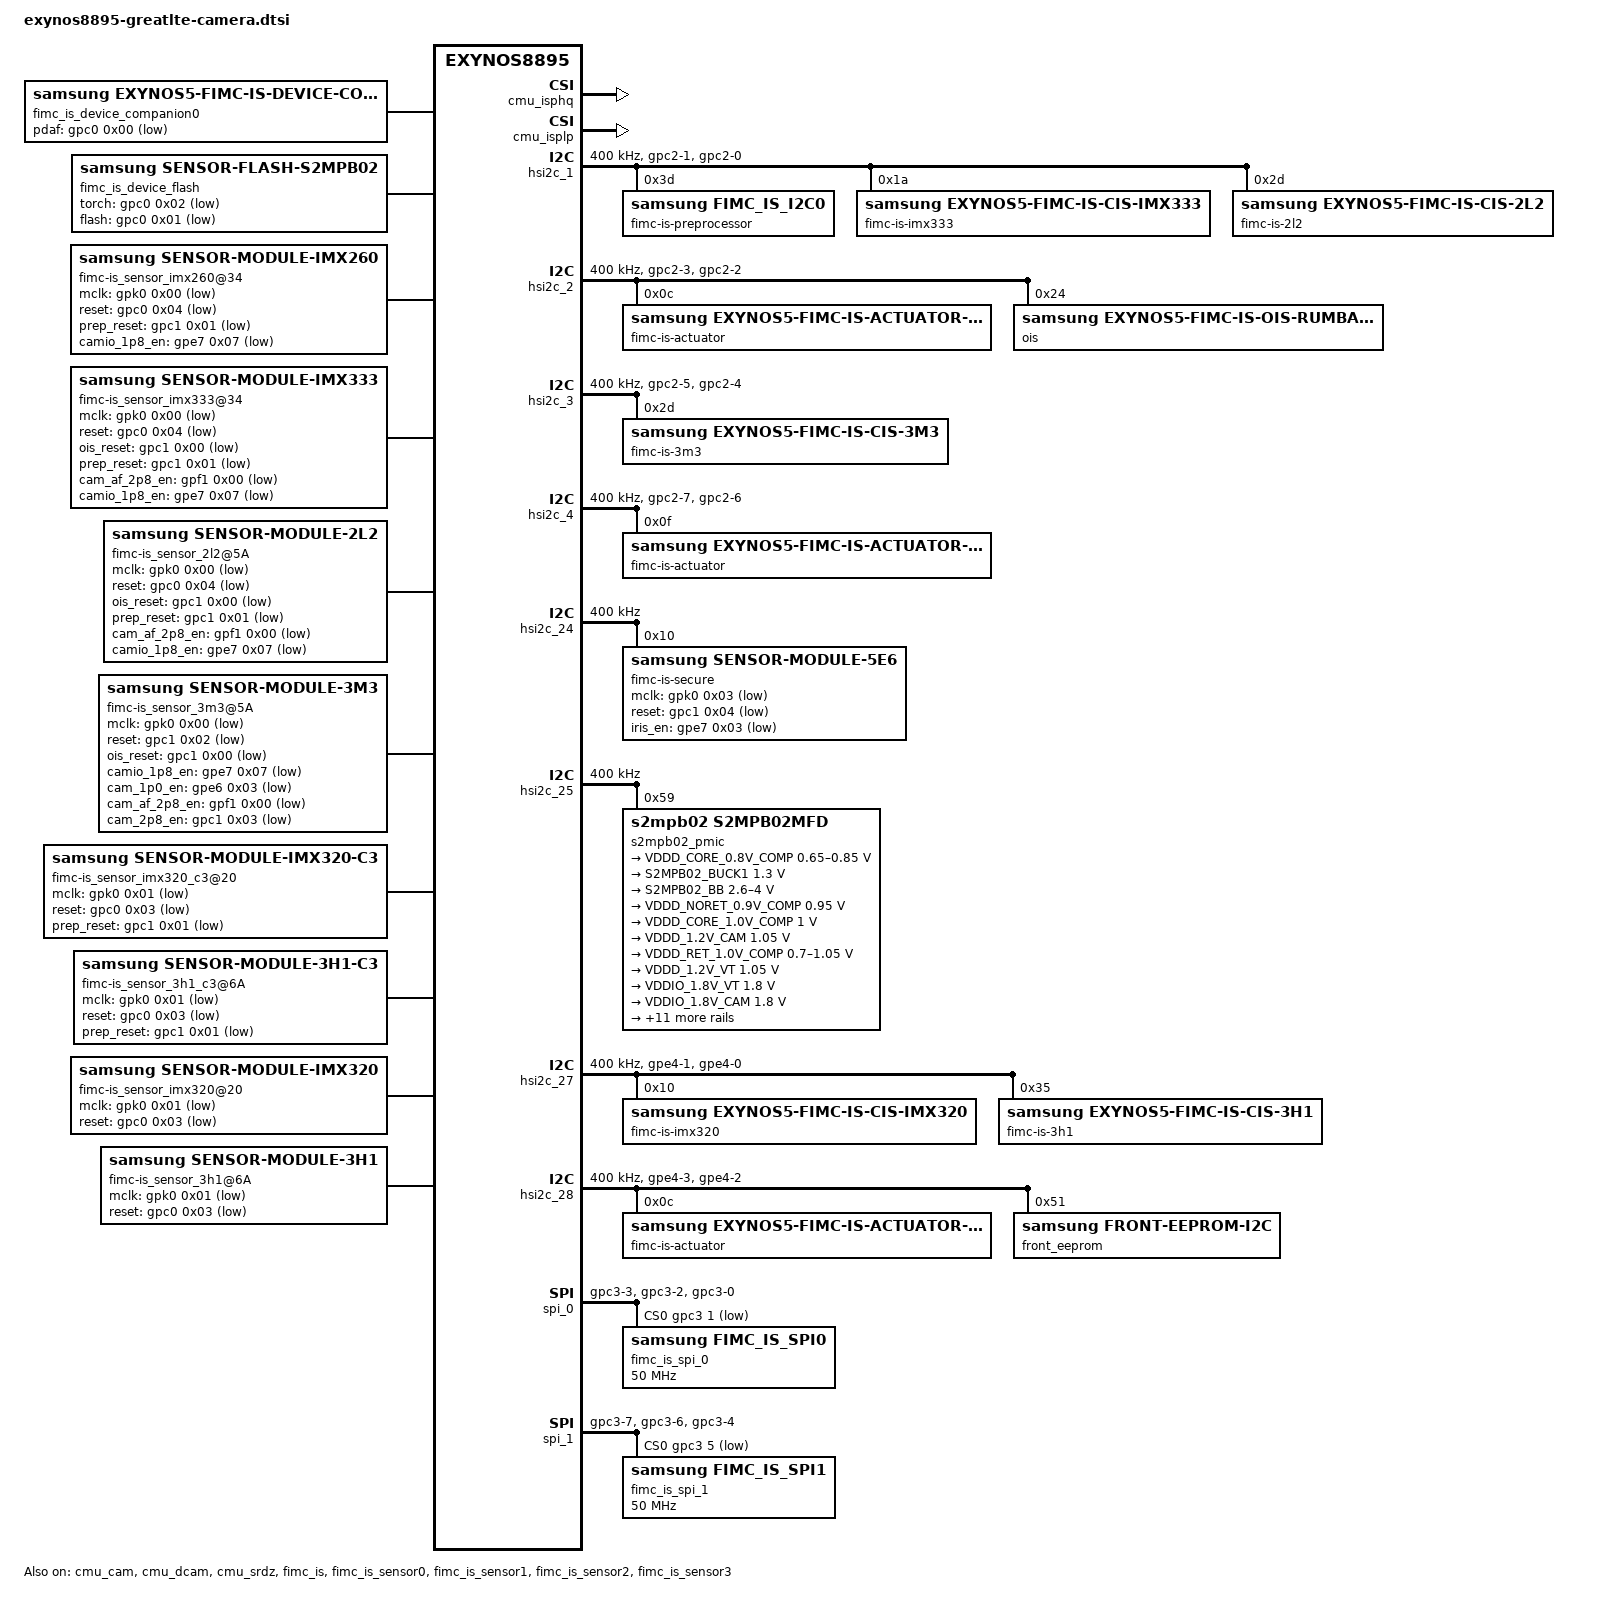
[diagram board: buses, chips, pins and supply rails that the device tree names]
// SPDX-License-Identifier: GPL-2.0 OR BSD-3-Clause
/*
 * Samsung Galaxy Note 8 (SM-N950N) camera
 */

#include <dt-bindings/gpio/gpio.h>

/ {
	fimc_is_preprocessor: fimc_is_preprocessor {
		compatible = "samsung,exynos8895-fimc-is-preprocessor";
		power-domains = <&pd_cam>;
		clocks = <&cmu_top CLK_DOUT_CMU_CIS_CLK2>;
		clock-names = "CIS_CLK2";
		scenario = <0>;
		id = <0>;
		mclk_ch = <2>;
	};

	fimc_is_device_companion0 {
		compatible = "samsung,exynos5-fimc-is-device-companion0";
		id = <0x00>;
		product_name = <0x03>;
		gpio_pdaf = <&gpc0 0x00 0x01>;
	};

	fimc_is_device_flash {
		compatible = "samsung,sensor-flash-s2mpb02";
		id = <0x00 0x02>;
		torch-gpio = <&gpc0 0x02 0x01>;
		flash-gpio = <&gpc0 0x01 0x01>;
	};

	fimc-is_sensor_imx260@34 {
		compatible = "samsung,sensor-module-imx260";
		pinctrl-names = "pin0", "pin1", "pin2";
		pinctrl-0;
		pinctrl-1 = <&fimc_is_flash_is &fimc_is_mclk0_out &fimc_is_mclk2_out>;
		pinctrl-2 = <&fimc_is_flash_is &fimc_is_mclk0_fn &fimc_is_mclk2_fn>;
		position = <0x00>;
		id = <0x00>;
		mclk_ch = <0x00>;
		sensor_i2c_ch = <0x00>;
		sensor_i2c_addr = <0x34>;
		gpio_mclk = <&gpk0 0x00 0x01>;
		gpio_reset = <&gpc0 0x04 0x01>;
		gpio_prep_reset = <&gpc1 0x01 0x01>;
		gpio_camio_1p8_en = <&gpe7 0x07 0x01>;
		status = "okay";

		af {
			product_name = <0x0c>;
			i2c_addr = <0x18>;
			i2c_ch = <0x02>;
		};

		flash {
			product_name = <0x03>;
			flash_first_gpio = <0x01>;
			flash_second_gpio = <0x02>;
		};

		preprocessor {
			product_name = <0x03>;
			spi_channel = <0x01>;
			i2c_addr = <0x7a>;
			i2c_ch = <0x00>;
			dma_ch = <0x02>;
		};

		ois {
			product_name = <0x02>;
			i2c_addr = <0x48>;
			i2c_ch = <0x01>;
		};

		internal_vc {
			vc_list = <0x02 0x02 0x01>;
		};
	};

	fimc-is_sensor_imx333@34 {
		compatible = "samsung,sensor-module-imx333";
		pinctrl-names = "pin0", "pin1", "pin2", "default", "release";
		pinctrl-0;
		pinctrl-1 = <&fimc_is_flash_is &fimc_is_mclk0_out &fimc_is_mclk2_out>;
		pinctrl-2 = <&fimc_is_flash_is &fimc_is_mclk0_fn &fimc_is_mclk2_fn>;
		pinctrl-3 = <&ois_rst_out &cam_rst_out &comp_rst_out>;
		pinctrl-4;
		position = <0x00>;
		id = <0x00>;
		mclk_ch = <0x00>;
		sensor_i2c_ch = <0x00>;
		sensor_i2c_addr = <0x34>;
		gpio_mclk = <&gpk0 0x00 0x01>;
		gpio_reset = <&gpc0 0x04 0x01>;
		gpio_ois_reset = <&gpc1 0x00 0x01>;
		gpio_prep_reset = <&gpc1 0x01 0x01>;
		gpio_cam_af_2p8_en = <&gpf1 0x00 0x01>;
		gpio_camio_1p8_en = <&gpe7 0x07 0x01>;
		power_seq_id = <0x01>;
		status = "okay";

		af {
			product_name = <0x0c>;
			i2c_addr = <0x18>;
			i2c_ch = <0x01>;
		};

		flash {
			product_name = <0x03>;
			flash_first_gpio = <0x01>;
			flash_second_gpio = <0x02>;
		};

		preprocessor {
			product_name = <0x03>;
			spi_channel = <0x01>;
			i2c_addr = <0x7a>;
			i2c_ch = <0x00>;
			dma_ch = <0x02>;
		};

		ois {
			product_name = <0x02>;
			i2c_addr = <0x48>;
			i2c_ch = <0x01>;
		};

		internal_vc {
			vc_list = <0x02 0x02 0x01>;
		};
	};

	fimc-is_sensor_2l2@5A {
		compatible = "samsung,sensor-module-2l2";
		pinctrl-names = "pin0", "pin1", "pin2", "pin3", "default", "release";
		pinctrl-0;
		pinctrl-1 = <&fimc_is_flash_is &fimc_is_mclk0_out &fimc_is_mclk2_out>;
		pinctrl-2 = <&fimc_is_flash_is &fimc_is_mclk0_fn &fimc_is_mclk2_fn>;
		pinctrl-3 = <&fimc_is_mclk0_fn>;
		pinctrl-4 = <&ois_rst_out &cam_rst_out &comp_rst_out>;
		pinctrl-5;
		position = <0x00>;
		id = <0x00>;
		mclk_ch = <0x00>;
		sensor_i2c_ch = <0x00>;
		sensor_i2c_addr = <0x5a>;
		gpio_mclk = <&gpk0 0x00 0x01>;
		gpio_reset = <&gpc0 0x04 0x01>;
		gpio_ois_reset = <&gpc1 0x00 0x01>;
		gpio_prep_reset = <&gpc1 0x01 0x01>;
		gpio_cam_af_2p8_en = <&gpf1 0x00 0x01>;
		gpio_camio_1p8_en = <&gpe7 0x07 0x01>;
		power_seq_id = <0x01>;
		status = "okay";

		af {
			product_name = <0x0c>;
			i2c_addr = <0x18>;
			i2c_ch = <0x01>;
		};

		flash {
			product_name = <0x03>;
			flash_first_gpio = <0x01>;
			flash_second_gpio = <0x02>;
		};

		preprocessor {
			product_name = <0x03>;
			spi_channel = <0x01>;
			i2c_addr = <0x7a>;
			i2c_ch = <0x00>;
			dma_ch = <0x02>;
		};

		ois {
			product_name = <0x02>;
			i2c_addr = <0x48>;
			i2c_ch = <0x01>;
		};

		internal_vc {
			vc_list = <0x02 0x02 0x01>;
		};
	};

	fimc-is_sensor_3m3@5A {
		compatible = "samsung,sensor-module-3m3";
		pinctrl-names = "pin0", "pin1", "pin2", "default", "release";
		pinctrl-0;
		pinctrl-1 = <&fimc_is_flash_is &fimc_is_mclk0_out &fimc_is_mclk2_out>;
		pinctrl-2 = <&fimc_is_flash_is &fimc_is_mclk0_fn &fimc_is_mclk2_fn>;
		pinctrl-3 = <&sub_cam_en_out &sub_cam_1p0_out &sub_cam_io_out &sub_cam_af_out &sub_cam_rst_out>;
		pinctrl-4;
		position = <0x02>;
		id = <0x02>;
		mclk_ch = <0x00>;
		sensor_i2c_ch = <0x02>;
		sensor_i2c_addr = <0x5a>;
		gpio_mclk = <&gpk0 0x00 0x01>;
		gpio_reset = <&gpc1 0x02 0x01>;
		gpio_ois_reset = <&gpc1 0x00 0x01>;
		gpio_camio_1p8_en = <&gpe7 0x07 0x01>;
		gpio_cam_1p0_en = <&gpe6 0x03 0x01>;
		gpio_cam_af_2p8_en = <&gpf1 0x00 0x01>;
		gpio_cam_2p8_en = <&gpc1 0x03 0x01>;
		power_seq_id = <0x01>;
		status = "okay";

		af {
			product_name = <0x11>;
			i2c_addr = <0x1e>;
			i2c_ch = <0x03>;
		};

		flash {
			product_name = <0x03>;
			flash_first_gpio = <0x01>;
			flash_second_gpio = <0x02>;
		};

		preprocessor {
			product_name = <0x64>;
		};

		ois {
			product_name = <0x02>;
			i2c_addr = <0x48>;
			i2c_ch = <0x01>;
		};

		internal_vc {
			vc_list = <0x01 0x01 0x00>;
		};
	};

	fimc-is_sensor_imx320_c3@20 {
		compatible = "samsung,sensor-module-imx320-c3";
		pinctrl-names = "pin0", "pin1", "pin2", "default", "release";
		pinctrl-0;
		pinctrl-1 = <&fimc_is_mclk1_out &fimc_is_mclk2_out>;
		pinctrl-2 = <&fimc_is_mclk1_fn &fimc_is_mclk2_fn>;
		pinctrl-3 = <&comp_rst_out &vtcam_rst_out>;
		pinctrl-4;
		position = <0x01>;
		id = <0x00>;
		mclk_ch = <0x01>;
		sensor_i2c_ch = <0x01>;
		sensor_i2c_addr = <0x20>;
		use_initial_ae;
		gpio_mclk = <&gpk0 0x01 0x01>;
		gpio_reset = <&gpc0 0x03 0x01>;
		gpio_prep_reset = <&gpc1 0x01 0x01>;
		status = "okay";

		af {
			product_name = <0x10>;
			i2c_addr = <0x18>;
			i2c_ch = <0x04>;
		};

		flash {
			product_name = <0x64>;
		};

		preprocessor {
			product_name = <0x03>;
			spi_channel = <0x01>;
			i2c_addr = <0x7a>;
			i2c_ch = <0x00>;
			dma_ch = <0x02>;
		};

		ois {
			product_name = <0x64>;
		};

		internal_vc {
			vc_list = <0x02 0x02 0x01>;
		};
	};

	fimc-is_sensor_3h1_c3@6A {
		compatible = "samsung,sensor-module-3h1-c3";
		pinctrl-names = "pin0", "pin1", "pin2", "default", "release";
		pinctrl-0;
		pinctrl-1 = <&fimc_is_mclk1_out &fimc_is_mclk2_out>;
		pinctrl-2 = <&fimc_is_mclk1_fn &fimc_is_mclk2_fn>;
		pinctrl-3 = <&comp_rst_out &vtcam_rst_out>;
		pinctrl-4;
		position = <0x01>;
		id = <0x00>;
		mclk_ch = <0x01>;
		sensor_i2c_ch = <0x01>;
		sensor_i2c_addr = <0x6a>;
		use_initial_ae;
		gpio_mclk = <&gpk0 0x01 0x01>;
		gpio_reset = <&gpc0 0x03 0x01>;
		gpio_prep_reset = <&gpc1 0x01 0x01>;
		status = "okay";

		af {
			product_name = <0x10>;
			i2c_addr = <0x18>;
			i2c_ch = <0x04>;
		};

		flash {
			product_name = <0x64>;
		};

		preprocessor {
			product_name = <0x03>;
			spi_channel = <0x01>;
			i2c_addr = <0x7a>;
			i2c_ch = <0x00>;
			dma_ch = <0x02>;
		};

		ois {
			product_name = <0x64>;
		};

		internal_vc {
			vc_list = <0x02 0x02 0x01>;
		};
	};

	fimc-is_sensor_imx320@20 {
		compatible = "samsung,sensor-module-imx320";
		pinctrl-names = "pin0", "pin1", "pin2", "default", "release";
		pinctrl-0;
		pinctrl-1 = <&fimc_is_mclk1_out>;
		pinctrl-2 = <&fimc_is_mclk1_fn>;
		pinctrl-3 = <&vtcam_rst_out>;
		pinctrl-4;
		position = <0x01>;
		id = <0x01>;
		mclk_ch = <0x01>;
		sensor_i2c_ch = <0x01>;
		sensor_i2c_addr = <0x20>;
		use_initial_ae;
		gpio_mclk = <&gpk0 0x01 0x01>;
		gpio_reset = <&gpc0 0x03 0x01>;
		status = "okay";

		af {
			product_name = <0x10>;
			i2c_addr = <0x18>;
			i2c_ch = <0x04>;
		};

		flash {
			product_name = <0x64>;
		};

		preprocessor {
			product_name = <0x64>;
		};

		ois {
			product_name = <0x64>;
		};

		internal_vc {
		};
	};

	fimc-is_sensor_3h1@6A {
		compatible = "samsung,sensor-module-3h1";
		pinctrl-names = "pin0", "pin1", "pin2", "default", "release";
		pinctrl-0;
		pinctrl-1 = <&fimc_is_mclk1_out>;
		pinctrl-2 = <&fimc_is_mclk1_fn>;
		pinctrl-3 = <&vtcam_rst_out>;
		pinctrl-4;
		position = <0x01>;
		id = <0x01>;
		mclk_ch = <0x01>;
		sensor_i2c_ch = <0x01>;
		sensor_i2c_addr = <0x6a>;
		use_initial_ae;
		gpio_mclk = <&gpk0 0x01 0x01>;
		gpio_reset = <&gpc0 0x03 0x01>;
		status = "okay";

		af {
			product_name = <0x10>;
			i2c_addr = <0x18>;
			i2c_ch = <0x04>;
		};

		flash {
			product_name = <0x64>;
		};

		preprocessor {
			product_name = <0x64>;
		};

		ois {
			product_name = <0x64>;
		};

		internal_vc {
		};
	};
};

&{/thermal-zones/isp-thermal} {
	trips {
		isp_t100: isp-100 {
			temperature = <100000>;
			hysteresis = <5000>;
			type = "active";
		};

		isp_t105: isp-105 {
			temperature = <105000>;
			hysteresis = <5000>;
			type = "active";
		};
	};

	cooling-maps {
		map-100 {
			trip = <&isp_t100>;
			cooling-device = <&fimc_is 1 1>;
		};

		map-105 {
			trip = <&isp_t105>;
			cooling-device = <&fimc_is 2 2>;
		};
	};
};

&cmu_cam {
	status = "okay";
};

&cmu_dcam {
	status = "okay";
};

&cmu_isphq {
	status = "okay";
};

&cmu_isplp {
	status = "okay";
};

&cmu_srdz {
	status = "okay";
};

&fimc_is {
	pinctrl-names = "default", "release";
	pinctrl-0 = <&fimc_is_flash_is &fimc_is_mclk0_out &fimc_is_mclk1_out &fimc_is_mclk2_out &fimc_is_mclk3_out>;
	pinctrl-1;
	chain_config = <1>;
	status = "okay";

	vender {
		rear_sensor_id = <0x20>;
		front_sensor_id = <0x1f>;
		rear_second_sensor_id = <0x21>;
		secure_sensor_id = <0xfe>;
		use_module_check;
		use_ois_hsi2c;
		use_ois;
		check_sensor_vendor;
		f_rom_power = <0x01>;
		max_camera_num = <0x04>;

		camera_info0 {
			isp = <0x00>;
			cal_memory = <0x01>;
			read_version = <0x00>;
			core_voltage = <0x01>;
			upgrade = <0x00>;
			fw_write = <0x00>;
			fw_dump = <0x00>;
			companion = <0x01>;
			ois = <0x01>;
			valid = <0x01>;
			dual_open = <0x00>;
		};

		camera_info1 {
			isp = <0x00>;
			cal_memory = <0x02>;
			read_version = <0x00>;
			core_voltage = <0x00>;
			upgrade = <0x00>;
			fw_write = <0x00>;
			fw_dump = <0x00>;
			companion = <0x01>;
			ois = <0x00>;
			valid = <0x01>;
			dual_open = <0x00>;
		};

		camera_info2 {
			isp = <0x00>;
			cal_memory = <0x01>;
			read_version = <0x00>;
			core_voltage = <0x00>;
			upgrade = <0x00>;
			fw_write = <0x00>;
			fw_dump = <0x00>;
			companion = <0x00>;
			ois = <0x01>;
			valid = <0x01>;
			dual_open = <0x01>;
		};

		camera_info3 {
			isp = <0x02>;
			cal_memory = <0x00>;
			read_version = <0x01>;
			core_voltage = <0x00>;
			upgrade = <0x00>;
			fw_write = <0x00>;
			fw_dump = <0x00>;
			companion = <0x00>;
			ois = <0x00>;
			valid = <0x01>;
			dual_open = <0x00>;
		};
	};

	fimc_is_dvfs {
		table0 {
			desc = "dvfs table v0.0 for 12M/8M";
			default_int_cam = <0xa8750>;
			default_cam = <0xa8750>;
			default_mif = <0x1fefc8>;
			default_int = <0xa2d78>;
			default_i2c = <0x00>;
			default_hpg = <0x01>;
			front_preview_int_cam = <0xa3930>;
			front_preview_cam = <0x9eb10>;
			front_preview_mif = <0xf78f0>;
			front_preview_int = <0x1a1f8>;
			front_preview_i2c = <0x00>;
			front_preview_hpg = <0x01>;
			front_capture_int_cam = <0xa3930>;
			front_capture_cam = <0x9eb10>;
			front_capture_mif = <0xf78f0>;
			front_capture_int = <0x1a1f8>;
			front_capture_i2c = <0x00>;
			front_capture_hpg = <0x01>;
			front_video_int_cam = <0xa3930>;
			front_video_cam = <0x9eb10>;
			front_video_mif = <0xf78f0>;
			front_video_int = <0x1a1f8>;
			front_video_i2c = <0x00>;
			front_video_hpg = <0x01>;
			front_video_whd_int_cam = <0xa3930>;
			front_video_whd_cam = <0x9eb10>;
			front_video_whd_mif = <0xf78f0>;
			front_video_whd_int = <0x1a1f8>;
			front_video_whd_i2c = <0x00>;
			front_video_whd_hpg = <0x01>;
			front_video_capture_int_cam = <0xa3930>;
			front_video_capture_cam = <0x9eb10>;
			front_video_capture_mif = <0xf78f0>;
			front_video_capture_int = <0x1a1f8>;
			front_video_capture_i2c = <0x00>;
			front_video_capture_hpg = <0x01>;
			front_video_whd_capture_int_cam = <0xa3930>;
			front_video_whd_capture_cam = <0x9eb10>;
			front_video_whd_capture_mif = <0xf78f0>;
			front_video_whd_capture_int = <0x1a1f8>;
			front_video_whd_capture_i2c = <0x00>;
			front_video_whd_capture_hpg = <0x01>;
			front_no_preproc_int_cam = <0xa3930>;
			front_no_preproc_cam = <0x9eb10>;
			front_no_preproc_mif = <0xf78f0>;
			front_no_preproc_int = <0x1a1f8>;
			front_no_preproc_i2c = <0x00>;
			front_no_preproc_hpg = <0x01>;
			front_vt1_int_cam = <0xa3930>;
			front_vt1_cam = <0x9eb10>;
			front_vt1_mif = <0xf78f0>;
			front_vt1_int = <0x1a1f8>;
			front_vt1_i2c = <0x00>;
			front_vt1_hpg = <0x01>;
			front_vt2_int_cam = <0xa3930>;
			front_vt2_cam = <0x9eb10>;
			front_vt2_mif = <0xf78f0>;
			front_vt2_int = <0x1a1f8>;
			front_vt2_i2c = <0x00>;
			front_vt2_hpg = <0x01>;
			front_vt4_int_cam = <0xa3930>;
			front_vt4_cam = <0x9eb10>;
			front_vt4_mif = <0xf78f0>;
			front_vt4_int = <0x1a1f8>;
			front_vt4_i2c = <0x00>;
			front_vt4_hpg = <0x01>;
			rear2_preview_fhd_int_cam = <0xa6040>;
			rear2_preview_fhd_cam = <0xa3930>;
			rear2_preview_fhd_mif = <0xf78f0>;
			rear2_preview_fhd_int = <0x1a1f8>;
			rear2_preview_fhd_i2c = <0x00>;
			rear2_preview_fhd_hpg = <0x01>;
			rear2_capture_int_cam = <0xa6040>;
			rear2_capture_cam = <0xa3930>;
			rear2_capture_mif = <0xf78f0>;
			rear2_capture_int = <0x1a1f8>;
			rear2_capture_i2c = <0x00>;
			rear2_capture_hpg = <0x01>;
			rear2_video_fhd_int_cam = <0xa6040>;
			rear2_video_fhd_cam = <0xa3930>;
			rear2_video_fhd_mif = <0xf78f0>;
			rear2_video_fhd_int = <0x1a1f8>;
			rear2_video_fhd_i2c = <0x00>;
			rear2_video_fhd_hpg = <0x01>;
			rear2_video_fhd_capture_int_cam = <0xa6040>;
			rear2_video_fhd_capture_cam = <0xa3930>;
			rear2_video_fhd_capture_mif = <0xf78f0>;
			rear2_video_fhd_capture_int = <0x1a1f8>;
			rear2_video_fhd_capture_i2c = <0x00>;
			rear2_video_fhd_capture_hpg = <0x01>;
			rear_preview_fhd_int_cam = <0xa6040>;
			rear_preview_fhd_cam = <0xa3930>;
			rear_preview_fhd_mif = <0xf78f0>;
			rear_preview_fhd_int = <0x1a1f8>;
			rear_preview_fhd_i2c = <0x00>;
			rear_preview_fhd_hpg = <0x01>;
			rear_preview_whd_int_cam = <0xa6040>;
			rear_preview_whd_cam = <0xa3930>;
			rear_preview_whd_mif = <0xf78f0>;
			rear_preview_whd_int = <0x1a1f8>;
			rear_preview_whd_i2c = <0x00>;
			rear_preview_whd_hpg = <0x01>;
			rear_preview_uhd_int_cam = <0xa6040>;
			rear_preview_uhd_cam = <0xa3930>;
			rear_preview_uhd_mif = <0xf78f0>;
			rear_preview_uhd_int = <0x1a1f8>;
			rear_preview_uhd_i2c = <0x00>;
			rear_preview_uhd_hpg = <0x01>;
			rear_preview_uhd_60fps_int_cam = <0xa8750>;
			rear_preview_uhd_60fps_cam = <0xa8750>;
			rear_preview_uhd_60fps_mif = <0xf78f0>;
			rear_preview_uhd_60fps_int = <0x2b750>;
			rear_preview_uhd_60fps_i2c = <0x00>;
			rear_preview_uhd_60fps_hpg = <0x01>;
			rear_capture_int_cam = <0xa6040>;
			rear_capture_cam = <0xa3930>;
			rear_capture_mif = <0xf78f0>;
			rear_capture_int = <0x1a1f8>;
			rear_capture_i2c = <0x00>;
			rear_capture_hpg = <0x01>;
			rear_video_fhd_int_cam = <0xa6040>;
			rear_video_fhd_cam = <0xa3930>;
			rear_video_fhd_mif = <0xf78f0>;
			rear_video_fhd_int = <0x1a1f8>;
			rear_video_fhd_i2c = <0x00>;
			rear_video_fhd_hpg = <0x01>;
			rear_video_whd_int_cam = <0xa6040>;
			rear_video_whd_cam = <0xa3930>;
			rear_video_whd_mif = <0xf78f0>;
			rear_video_whd_int = <0x1a1f8>;
			rear_video_whd_i2c = <0x00>;
			rear_video_whd_hpg = <0x01>;
			rear_video_uhd_int_cam = <0xa6040>;
			rear_video_uhd_cam = <0xa3930>;
			rear_video_uhd_mif = <0xf78f0>;
			rear_video_uhd_int = <0x1a1f8>;
			rear_video_uhd_i2c = <0x00>;
			rear_video_uhd_hpg = <0x01>;
			rear_video_uhd_60fps_int_cam = <0xa8750>;
			rear_video_uhd_60fps_cam = <0xa8750>;
			rear_video_uhd_60fps_mif = <0xf78f0>;
			rear_video_uhd_60fps_int = <0x2b750>;
			rear_video_uhd_60fps_i2c = <0x00>;
			rear_video_uhd_60fps_hpg = <0x01>;
			rear_video_fhd_capture_int_cam = <0xa6040>;
			rear_video_fhd_capture_cam = <0xa3930>;
			rear_video_fhd_capture_mif = <0xf78f0>;
			rear_video_fhd_capture_int = <0x1a1f8>;
			rear_video_fhd_capture_i2c = <0x00>;
			rear_video_fhd_capture_hpg = <0x01>;
			rear_video_whd_capture_int_cam = <0xa6040>;
			rear_video_whd_capture_cam = <0xa3930>;
			rear_video_whd_capture_mif = <0xf78f0>;
			rear_video_whd_capture_int = <0x1a1f8>;
			rear_video_whd_capture_i2c = <0x00>;
			rear_video_whd_capture_hpg = <0x01>;
			rear_video_uhd_capture_int_cam = <0xa6040>;
			rear_video_uhd_capture_cam = <0xa3930>;
			rear_video_uhd_capture_mif = <0xf78f0>;
			rear_video_uhd_capture_int = <0x1a1f8>;
			rear_video_uhd_capture_i2c = <0x00>;
			rear_video_uhd_capture_hpg = <0x01>;
			dual_preview_int_cam = <0xa6040>;
			dual_preview_cam = <0xa3930>;
			dual_preview_mif = <0xf78f0>;
			dual_preview_int = <0x1a1f8>;
			dual_preview_i2c = <0x00>;
			dual_preview_hpg = <0x01>;
			dual_capture_int_cam = <0xa6040>;
			dual_capture_cam = <0xa3930>;
			dual_capture_mif = <0x14a140>;
			dual_capture_int = <0x1a1f8>;
			dual_capture_i2c = <0x00>;
			dual_capture_hpg = <0x01>;
			dual_video_fhd_int_cam = <0xa6040>;
			dual_video_fhd_cam = <0xa3930>;
			dual_video_fhd_mif = <0xf78f0>;
			dual_video_fhd_int = <0x1a1f8>;
			dual_video_fhd_i2c = <0x00>;
			dual_video_fhd_hpg = <0x01>;
			dual_video_fhd_capture_int_cam = <0xa6040>;
			dual_video_fhd_capture_cam = <0xa3930>;
			dual_video_fhd_capture_mif = <0x14a140>;
			dual_video_fhd_capture_int = <0x1a1f8>;
			dual_video_fhd_capture_i2c = <0x00>;
			dual_video_fhd_capture_hpg = <0x01>;
			dual_video_uhd_int_cam = <0xa6040>;
			dual_video_uhd_cam = <0xa3930>;
			dual_video_uhd_mif = <0xf78f0>;
			dual_video_uhd_int = <0x1a1f8>;
			dual_video_uhd_i2c = <0x00>;
			dual_video_uhd_hpg = <0x01>;
			dual_video_uhd_capture_int_cam = <0xa6040>;
			dual_video_uhd_capture_cam = <0xa3930>;
			dual_video_uhd_capture_mif = <0x14a140>;
			dual_video_uhd_capture_int = <0x1a1f8>;
			dual_video_uhd_capture_i2c = <0x00>;
			dual_video_uhd_capture_hpg = <0x01>;
			dual_video_uhd_swvdis_int_cam = <0xa6040>;
			dual_video_uhd_swvdis_cam = <0xa3930>;
			dual_video_uhd_swvdis_mif = <0xf78f0>;
			dual_video_uhd_swvdis_int = <0x82208>;
			dual_video_uhd_swvdis_i2c = <0x00>;
			dual_video_uhd_swvdis_hpg = <0x06>;
			dual_video_uhd_capture_swvdis_int_cam = <0xa6040>;
			dual_video_uhd_capture_swvdis_cam = <0xa3930>;
			dual_video_uhd_capture_swvdis_mif = <0x14a140>;
			dual_video_uhd_capture_swvdis_int = <0x82208>;
			dual_video_uhd_capture_swvdis_i2c = <0x00>;
			dual_video_uhd_capture_swvdis_hpg = <0x06>;
			dual_sync_preview_int_cam = <0xa6040>;
			dual_sync_preview_cam = <0xa3930>;
			dual_sync_preview_mif = <0x14a140>;
			dual_sync_preview_int = <0x2b750>;
			dual_sync_preview_i2c = <0x00>;
			dual_sync_preview_hpg = <0x01>;
			dual_sync_capture_int_cam = <0xa6040>;
			dual_sync_capture_cam = <0xa3930>;
			dual_sync_capture_mif = <0x1b5fd0>;
			dual_sync_capture_int = <0x2b750>;
			dual_sync_capture_i2c = <0x00>;
			dual_sync_capture_hpg = <0x01>;
			dual_sync_video_fhd_int_cam = <0xa6040>;
			dual_sync_video_fhd_cam = <0xa3930>;
			dual_sync_video_fhd_mif = <0x14a140>;
			dual_sync_video_fhd_int = <0x2b750>;
			dual_sync_video_fhd_i2c = <0x00>;
			dual_sync_video_fhd_hpg = <0x01>;
			dual_sync_video_fhd_capture_int_cam = <0xa6040>;
			dual_sync_video_fhd_capture_cam = <0xa3930>;
			dual_sync_video_fhd_capture_mif = <0x1b5fd0>;
			dual_sync_video_fhd_capture_int = <0x2b750>;
			dual_sync_video_fhd_capture_i2c = <0x00>;
			dual_sync_video_fhd_capture_hpg = <0x01>;
			dual_sync_video_uhd_int_cam = <0xa6040>;
			dual_sync_video_uhd_cam = <0xa3930>;
			dual_sync_video_uhd_mif = <0x14a140>;
			dual_sync_video_uhd_int = <0x2b750>;
			dual_sync_video_uhd_i2c = <0x00>;
			dual_sync_video_uhd_hpg = <0x01>;
			dual_sync_video_uhd_capture_int_cam = <0xa6040>;
			dual_sync_video_uhd_capture_cam = <0xa3930>;
			dual_sync_video_uhd_capture_mif = <0x1b5fd0>;
			dual_sync_video_uhd_capture_int = <0x2b750>;
			dual_sync_video_uhd_capture_i2c = <0x00>;
			dual_sync_video_uhd_capture_hpg = <0x01>;
			dual_sync_video_uhd_swvdis_int_cam = <0xa6040>;
			dual_sync_video_uhd_swvdis_cam = <0xa3930>;
			dual_sync_video_uhd_swvdis_mif = <0x14a140>;
			dual_sync_video_uhd_swvdis_int = <0x82208>;
			dual_sync_video_uhd_swvdis_i2c = <0x00>;
			dual_sync_video_uhd_swvdis_hpg = <0x06>;
			dual_sync_video_uhd_capture_swvdis_int_cam = <0xa6040>;
			dual_sync_video_uhd_capture_swvdis_cam = <0xa3930>;
			dual_sync_video_uhd_capture_swvdis_mif = <0x1b5fd0>;
			dual_sync_video_uhd_capture_swvdis_int = <0x82208>;
			dual_sync_video_uhd_capture_swvdis_i2c = <0x00>;
			dual_sync_video_uhd_capture_swvdis_hpg = <0x06>;
			secure_front_int_cam = <0xa6040>;
			secure_front_cam = <0xa3930>;
			secure_front_int = <0x1a1f8>;
			secure_front_mif = <0xf78f0>;
			secure_front_i2c = <0x00>;
			secure_front_hpg = <0x01>;
			pip_preview_int_cam = <0xa6040>;
			pip_preview_cam = <0xa3930>;
			pip_preview_mif = <0xf78f0>;
			pip_preview_int = <0x1a1f8>;
			pip_preview_i2c = <0x00>;
			pip_preview_hpg = <0x01>;
			pip_capture_int_cam = <0xa6040>;
			pip_capture_cam = <0xa3930>;
			pip_capture_mif = <0xf78f0>;
			pip_capture_int = <0x1a1f8>;
			pip_capture_i2c = <0x00>;
			pip_capture_hpg = <0x01>;
			pip_video_int_cam = <0xa6040>;
			pip_video_cam = <0xa3930>;
			pip_video_mif = <0xf78f0>;
			pip_video_int = <0x1a1f8>;
			pip_video_i2c = <0x00>;
			pip_video_hpg = <0x01>;
			pip_video_capture_int_cam = <0xa6040>;
			pip_video_capture_cam = <0xa3930>;
			pip_video_capture_mif = <0xf78f0>;
			pip_video_capture_int = <0x1a1f8>;
			pip_video_capture_i2c = <0x00>;
			pip_video_capture_hpg = <0x01>;
			preview_high_speed_fps_int_cam = <0xa8750>;
			preview_high_speed_fps_cam = <0xa8750>;
			preview_high_speed_fps_mif = <0xf78f0>;
			preview_high_speed_fps_int = <0x2b750>;
			preview_high_speed_fps_i2c = <0x00>;
			preview_high_speed_fps_hpg = <0x01>;
			video_high_speed_60fps_int_cam = <0xa8750>;
			video_high_speed_60fps_cam = <0xa8750>;
			video_high_speed_60fps_mif = <0xf78f0>;
			video_high_speed_60fps_int = <0x2b750>;
			video_high_speed_60fps_i2c = <0x00>;
			video_high_speed_60fps_hpg = <0x01>;
			video_high_speed_120fps_int_cam = <0xa8750>;
			video_high_speed_120fps_cam = <0xa8750>;
			video_high_speed_120fps_mif = <0xf78f0>;
			video_high_speed_120fps_int = <0x2b750>;
			video_high_speed_120fps_i2c = <0x00>;
			video_high_speed_120fps_hpg = <0x01>;
			video_high_speed_240fps_int_cam = <0xa8750>;
			video_high_speed_240fps_cam = <0xa8750>;
			video_high_speed_240fps_mif = <0x1b5fd0>;
			video_high_speed_240fps_int = <0x61a80>;
			video_high_speed_240fps_i2c = <0x00>;
			video_high_speed_240fps_hpg = <0x01>;
			ext_front_int_cam = <0xa1220>;
			ext_front_cam = <0xa3930>;
			ext_front_mif = <0xf78f0>;
			ext_front_int = <0x1a1f8>;
			ext_front_i2c = <0x00>;
			ext_front_hpg = <0x01>;
			max_int_cam = <0xa8750>;
			max_cam = <0xa8750>;
			max_mif = <0x1fefc8>;
			max_int = <0xa2d78>;
			max_i2c = <0x00>;
			max_hpg = <0x01>;
		};

		table1 {
			desc = "DVFS table for HAL3";
			default_int_cam = <0xa8750>;
			default_cam = <0xa8750>;
			default_mif = <0x1fefc8>;
			default_int = <0xa2d78>;
			default_i2c = <0x00>;
			front_preview_int_cam = <0xa3930>;
			front_preview_cam = <0x9eb10>;
			front_preview_mif = <0xf78f0>;
			front_preview_int = <0x1a1f8>;
			front_preview_i2c = <0x00>;
			front_capture_int_cam = <0xa3930>;
			front_capture_cam = <0x9eb10>;
			front_capture_mif = <0xf78f0>;
			front_capture_int = <0x1a1f8>;
			front_capture_i2c = <0x00>;
			front_video_int_cam = <0xa3930>;
			front_video_cam = <0x9eb10>;
			front_video_mif = <0xf78f0>;
			front_video_int = <0x1a1f8>;
			front_video_i2c = <0x00>;
			front_video_whd_int_cam = <0xa3930>;
			front_video_whd_cam = <0x9eb10>;
			front_video_whd_mif = <0xf78f0>;
			front_video_whd_int = <0x1a1f8>;
			front_video_whd_i2c = <0x00>;
			front_video_capture_int_cam = <0xa3930>;
			front_video_capture_cam = <0x9eb10>;
			front_video_capture_mif = <0xf78f0>;
			front_video_capture_int = <0x1a1f8>;
			front_video_capture_i2c = <0x00>;
			front_video_whd_capture_int_cam = <0xa3930>;
			front_video_whd_capture_cam = <0x9eb10>;
			front_video_whd_capture_mif = <0xf78f0>;
			front_video_whd_capture_int = <0x1a1f8>;
			front_video_whd_capture_i2c = <0x00>;
			front_no_preproc_int_cam = <0xa3930>;
			front_no_preproc_cam = <0x9eb10>;
			front_no_preproc_mif = <0xf78f0>;
			front_no_preproc_int = <0x1a1f8>;
			front_no_preproc_i2c = <0x00>;
			front_vt1_int_cam = <0xa3930>;
			front_vt1_cam = <0x9eb10>;
			front_vt1_mif = <0xf78f0>;
			front_vt1_int = <0x1a1f8>;
			front_vt1_i2c = <0x00>;
			front_vt2_int_cam = <0xa3930>;
			front_vt2_cam = <0x9eb10>;
			front_vt2_mif = <0xf78f0>;
			front_vt2_int = <0x1a1f8>;
			front_vt2_i2c = <0x00>;
			front_vt4_int_cam = <0xa3930>;
			front_vt4_cam = <0x9eb10>;
			front_vt4_mif = <0xf78f0>;
			front_vt4_int = <0x1a1f8>;
			front_vt4_i2c = <0x00>;
			rear2_preview_fhd_int_cam = <0xa6040>;
			rear2_preview_fhd_cam = <0xa3930>;
			rear2_preview_fhd_mif = <0xf78f0>;
			rear2_preview_fhd_int = <0x1a1f8>;
			rear2_preview_fhd_i2c = <0x00>;
			rear2_capture_int_cam = <0xa6040>;
			rear2_capture_cam = <0xa3930>;
			rear2_capture_mif = <0xf78f0>;
			rear2_capture_int = <0x1a1f8>;
			rear2_capture_i2c = <0x00>;
			rear2_video_fhd_int_cam = <0xa6040>;
			rear2_video_fhd_cam = <0xa3930>;
			rear2_video_fhd_mif = <0xf78f0>;
			rear2_video_fhd_int = <0x1a1f8>;
			rear2_video_fhd_i2c = <0x00>;
			rear2_video_fhd_capture_int_cam = <0xa6040>;
			rear2_video_fhd_capture_cam = <0xa3930>;
			rear2_video_fhd_capture_mif = <0xf78f0>;
			rear2_video_fhd_capture_int = <0x1a1f8>;
			rear2_video_fhd_capture_i2c = <0x00>;
			rear_preview_fhd_int_cam = <0xa6040>;
			rear_preview_fhd_cam = <0xa8750>;
			rear_preview_fhd_mif = <0xf78f0>;
			rear_preview_fhd_int = <0x1a1f8>;
			rear_preview_fhd_i2c = <0x00>;
			rear_preview_whd_int_cam = <0xa6040>;
			rear_preview_whd_cam = <0xa8750>;
			rear_preview_whd_mif = <0xf78f0>;
			rear_preview_whd_int = <0x1a1f8>;
			rear_preview_whd_i2c = <0x00>;
			rear_preview_uhd_int_cam = <0xa6040>;
			rear_preview_uhd_cam = <0xa8750>;
			rear_preview_uhd_mif = <0xf78f0>;
			rear_preview_uhd_int = <0x1a1f8>;
			rear_preview_uhd_i2c = <0x00>;
			rear_preview_uhd_60fps_int_cam = <0xa8750>;
			rear_preview_uhd_60fps_cam = <0xa8750>;
			rear_preview_uhd_60fps_mif = <0xf78f0>;
			rear_preview_uhd_60fps_int = <0x2b750>;
			rear_preview_uhd_60fps_i2c = <0x00>;
			rear_capture_int_cam = <0xa6040>;
			rear_capture_cam = <0xa8750>;
			rear_capture_mif = <0xf78f0>;
			rear_capture_int = <0x1a1f8>;
			rear_capture_i2c = <0x00>;
			rear_video_fhd_int_cam = <0xa6040>;
			rear_video_fhd_cam = <0xa6040>;
			rear_video_fhd_mif = <0xf78f0>;
			rear_video_fhd_int = <0x1a1f8>;
			rear_video_fhd_i2c = <0x00>;
			rear_video_whd_int_cam = <0xa6040>;
			rear_video_whd_cam = <0xa6040>;
			rear_video_whd_mif = <0xf78f0>;
			rear_video_whd_int = <0x1a1f8>;
			rear_video_whd_i2c = <0x00>;
			rear_video_uhd_int_cam = <0xa6040>;
			rear_video_uhd_cam = <0xa6040>;
			rear_video_uhd_mif = <0xf78f0>;
			rear_video_uhd_int = <0x1a1f8>;
			rear_video_uhd_i2c = <0x00>;
			rear_video_uhd_60fps_int_cam = <0xa8750>;
			rear_video_uhd_60fps_cam = <0xa8750>;
			rear_video_uhd_60fps_mif = <0xf78f0>;
			rear_video_uhd_60fps_int = <0x2b750>;
			rear_video_uhd_60fps_i2c = <0x00>;
			rear_video_fhd_capture_int_cam = <0xa6040>;
			rear_video_fhd_capture_cam = <0xa6040>;
			rear_video_fhd_capture_mif = <0xf78f0>;
			rear_video_fhd_capture_int = <0x1a1f8>;
			rear_video_fhd_capture_i2c = <0x00>;
			rear_video_whd_capture_int_cam = <0xa6040>;
			rear_video_whd_capture_cam = <0xa6040>;
			rear_video_whd_capture_mif = <0xf78f0>;
			rear_video_whd_capture_int = <0x1a1f8>;
			rear_video_whd_capture_i2c = <0x00>;
			rear_video_uhd_capture_int_cam = <0xa6040>;
			rear_video_uhd_capture_cam = <0xa6040>;
			rear_video_uhd_capture_mif = <0xf78f0>;
			rear_video_uhd_capture_int = <0x1a1f8>;
			rear_video_uhd_capture_i2c = <0x00>;
			secure_front_int_cam = <0xa6040>;
			secure_front_cam = <0xa6040>;
			secure_front_int = <0x1a1f8>;
			secure_front_mif = <0xf78f0>;
			secure_front_i2c = <0x00>;
			pip_preview_int_cam = <0xa6040>;
			pip_preview_cam = <0xa6040>;
			pip_preview_mif = <0xf78f0>;
			pip_preview_int = <0x1a1f8>;
			pip_preview_i2c = <0x00>;
			pip_capture_int_cam = <0xa6040>;
			pip_capture_cam = <0xa6040>;
			pip_capture_mif = <0xf78f0>;
			pip_capture_int = <0x1a1f8>;
			pip_capture_i2c = <0x00>;
			pip_video_int_cam = <0xa6040>;
			pip_video_cam = <0xa6040>;
			pip_video_mif = <0xf78f0>;
			pip_video_int = <0x1a1f8>;
			pip_video_i2c = <0x00>;
			pip_video_capture_int_cam = <0xa6040>;
			pip_video_capture_cam = <0xa6040>;
			pip_video_capture_mif = <0xf78f0>;
			pip_video_capture_int = <0x1a1f8>;
			pip_video_capture_i2c = <0x00>;
			preview_high_speed_fps_int_cam = <0xa8750>;
			preview_high_speed_fps_cam = <0xa8750>;
			preview_high_speed_fps_mif = <0xf78f0>;
			preview_high_speed_fps_int = <0x2b750>;
			preview_high_speed_fps_i2c = <0x00>;
			video_high_speed_60fps_int_cam = <0xa8750>;
			video_high_speed_60fps_cam = <0xa8750>;
			video_high_speed_60fps_mif = <0xf78f0>;
			video_high_speed_60fps_int = <0x2b750>;
			video_high_speed_60fps_i2c = <0x00>;
			video_high_speed_120fps_int_cam = <0xa8750>;
			video_high_speed_120fps_cam = <0xa8750>;
			video_high_speed_120fps_mif = <0xf78f0>;
			video_high_speed_120fps_int = <0x2b750>;
			video_high_speed_120fps_i2c = <0x00>;
			video_high_speed_240fps_int_cam = <0xa8750>;
			video_high_speed_240fps_cam = <0xa8750>;
			video_high_speed_240fps_mif = <0x1b5fd0>;
			video_high_speed_240fps_int = <0x61a80>;
			video_high_speed_240fps_i2c = <0x00>;
			max_int_cam = <0xa8750>;
			max_cam = <0xa8750>;
			max_mif = <0x1fefc8>;
			max_int = <0xa2d78>;
			max_i2c = <0x00>;
		};
	};
};

&fimc_is_sensor0 {
	status = "okay";
};

&fimc_is_sensor1 {
	status = "okay";
};

&fimc_is_sensor2 {
	status = "okay";
};

&fimc_is_sensor3 {
	status = "okay";
};

&hsi2c_1 {
	#address-cells = <1>;
	#size-cells = <0>;
	pinctrl-names = "default", "on_i2c", "off_i2c";
	pinctrl-0 = <&hsi2c1_bus_in>;
	pinctrl-1 = <&hsi2c1_bus>;
	pinctrl-2 = <&hsi2c1_bus_in>;
	clock-frequency = <400000>;
	status = "okay";

	fimc-is-preprocessor@3d {
		compatible = "samsung,fimc_is_i2c0";
		reg = <0x3d>;
	};

	fimc-is-imx333@1a {
		compatible = "samsung,exynos5-fimc-is-cis-imx333";
		reg = <0x1a>;
		id = <0x00>;
		setfile = "setA";
	};

	fimc-is-2l2@2d {
		compatible = "samsung,exynos5-fimc-is-cis-2l2";
		reg = <0x2d>;
		id = <0x00>;
		setfile = "setB";
	};
};

&hsi2c_2 {
	#address-cells = <1>;
	#size-cells = <0>;
	pinctrl-names = "default", "on_i2c", "off_i2c";
	pinctrl-0 = <&hsi2c2_bus_in>;
	pinctrl-1 = <&hsi2c2_bus>;
	pinctrl-2 = <&hsi2c2_bus_in>;
	clock-frequency = <400000>;
	status = "okay";

	fimc-is-actuator@c {
		compatible = "samsung,exynos5-fimc-is-actuator-ak7371";
		reg = <0x0c>;
		id = <0x00>;
		place = <0x00>;
	};

	ois@24 {
		compatible = "samsung,exynos5-fimc-is-ois-rumbaS6";
		product_name = <0x02>;
		reg = <0x24>;
		id = <0x00 0x02>;
	};
};

&hsi2c_3 {
	#address-cells = <1>;
	#size-cells = <0>;
	pinctrl-names = "default", "on_i2c", "off_i2c";
	pinctrl-0 = <&hsi2c3_bus_in>;
	pinctrl-1 = <&hsi2c3_bus>;
	pinctrl-2 = <&hsi2c3_bus_in>;
	clock-frequency = <400000>;
	status = "okay";

	fimc-is-3m3@2d {
		compatible = "samsung,exynos5-fimc-is-cis-3m3";
		reg = <0x2d>;
		id = <0x02>;
		setfile = "default";
	};
};

&hsi2c_4 {
	#address-cells = <1>;
	#size-cells = <0>;
	pinctrl-names = "default", "on_i2c", "off_i2c";
	pinctrl-0 = <&hsi2c4_bus_in>;
	pinctrl-1 = <&hsi2c4_bus>;
	pinctrl-2 = <&hsi2c4_bus_in>;
	clock-frequency = <400000>;
	status = "okay";

	fimc-is-actuator@f {
		compatible = "samsung,exynos5-fimc-is-actuator-ak7371";
		reg = <0x0f>;
		id = <0x02>;
		place = <0x02>;
	};
};

&hsi2c_24 {
	#address-cells = <1>;
	#size-cells = <0>;
	pinctrl-names = "default";
	pinctrl-0 = <&hsi2c24_bus>;
	clock-frequency = <400000>;
	status = "okay";

	fimc-is-secure@10 {
		compatible = "samsung,sensor-module-5e6";
		pinctrl-names = "pin0", "pin1", "pin2", "default", "release";
		pinctrl-0;
		pinctrl-1 = <&fimc_is_mclk3_out>;
		pinctrl-2 = <&fimc_is_mclk3_fn>;
		pinctrl-3 = <&iris_en_out &iris_rst_out>;
		pinctrl-4;
		position = <0x01>;
		reg = <0x10>;
		id = <0x03>;
		mclk_ch = <0x03>;
		hw_version = <0x01>;
		power_seq_id = <0x01>;
		gpio_mclk = <&gpk0 0x03 0x01>;
		gpio_reset = <&gpc1 0x04 0x01>;
		gpio_iris_en = <&gpe7 0x03 0x01>;
		status = "okay";
	};
};

&hsi2c_25 {
	#address-cells = <1>;
	#size-cells = <0>;
	clock-frequency = <400000>;
	status = "okay";

	s2mpb02_pmic@59 {
		compatible = "s2mpb02,s2mpb02mfd";
		reg = <0x59>;
		s2mpb02,wakeup;
		pinctrl-names = "default";
		pinctrl-0 = <&sub_pmic_irq>;
		b1_remote_sense_en = <1>;

		regulators {
			s2mpb02-buck1 {
				regulator-name = "VDDD_CORE_0.8V_COMP";
				regulator-min-microvolt = <650000>;
				regulator-max-microvolt = <850000>;
			};

			s2mpb02-buck2 {
				regulator-name = "S2MPB02_BUCK1";
				regulator-min-microvolt = <1300000>;
				regulator-max-microvolt = <1300000>;
				regulator-always-on;
				regulator-boot-on;
			};

			s2mpb02-bb {
				regulator-name = "S2MPB02_BB";
				regulator-min-microvolt = <2600000>;
				regulator-max-microvolt = <4000000>;
				regulator-always-on;
				regulator-boot-on;
			};

			s2mpb02-ldo1 {
				regulator-name = "VDDD_NORET_0.9V_COMP";
				regulator-min-microvolt = <950000>;
				regulator-max-microvolt = <950000>;
			};

			s2mpb02-ldo2 {
				regulator-name = "VDDD_CORE_1.0V_COMP";
				regulator-min-microvolt = <1000000>;
				regulator-max-microvolt = <1000000>;
			};

			s2mpb02-ldo3 {
				regulator-name = "VDDD_1.2V_CAM";
				regulator-min-microvolt = <1050000>;
				regulator-max-microvolt = <1050000>;
			};

			s2mpb02-ldo4 {
				regulator-name = "VDDD_RET_1.0V_COMP";
				regulator-min-microvolt = <700000>;
				regulator-max-microvolt = <1050000>;
			};

			s2mpb02-ldo5 {
				regulator-name = "VDDD_1.2V_VT";
				regulator-min-microvolt = <1050000>;
				regulator-max-microvolt = <1050000>;
			};

			s2mpb02-ldo6 {
				regulator-name = "VDDIO_1.8V_VT";
				regulator-min-microvolt = <1800000>;
				regulator-max-microvolt = <1800000>;
			};

			s2mpb02-ldo7 {
				regulator-name = "VDDIO_1.8V_CAM";
				regulator-min-microvolt = <1800000>;
				regulator-max-microvolt = <1800000>;
			};

			s2mpb02-ldo8 {
				regulator-name = "VDDIO_1.8V_COMP";
				regulator-min-microvolt = <1800000>;
				regulator-max-microvolt = <1800000>;
			};

			s2mpb02-ldo9 {
				regulator-name = "VDDA_1.8V_COMP";
				regulator-min-microvolt = <1800000>;
				regulator-max-microvolt = <1800000>;
			};

			s2mpb02-ldo10 {
				regulator-name = "VDDA_1.8V_CAM";
				regulator-min-microvolt = <1800000>;
				regulator-max-microvolt = <1800000>;
			};

			s2mpb02-ldo11 {
				regulator-name = "VDDA_2.9V_CAM";
				regulator-min-microvolt = <2800000>;
				regulator-max-microvolt = <2950000>;
			};

			s2mpb02-ldo12 {
				regulator-name = "VDDAF_2.8V_CAM";
				regulator-min-microvolt = <2800000>;
				regulator-max-microvolt = <2800000>;
			};

			s2mpb02-ldo13 {
				regulator-name = "VDDA_2.9V_VT";
				regulator-min-microvolt = <2800000>;
				regulator-max-microvolt = <2800000>;
			};

			s2mpb02-ldo14 {
				regulator-name = "OIS_VM_2.8V";
				regulator-min-microvolt = <2800000>;
				regulator-max-microvolt = <2800000>;
			};

			s2mpb02-ldo15 {
				regulator-name = "OIS_VDD_2.8V";
				regulator-min-microvolt = <2800000>;
				regulator-max-microvolt = <2800000>;
			};

			s2mpb02-ldo16 {
				regulator-name = "VDD_VTCAM_AF_2.8V";
				regulator-min-microvolt = <2800000>;
				regulator-max-microvolt = <2800000>;
			};

			s2mpb02-ldo17 {
				regulator-name = "OIS_VDD_1.8V";
				regulator-min-microvolt = <1800000>;
				regulator-max-microvolt = <1800000>;
			};

			s2mpb02-ldo18 {
				regulator-name = "S2MPB02_LDO18";
				regulator-min-microvolt = <600000>;
				regulator-max-microvolt = <3775000>;
				regulator-always-on;
				regulator-boot-on;
			};
		};

		torch {
			torch1-gpio = <&gpc0 2 1>;
			flash1-gpio = <&gpc0 1 1>;
			status = "okay";

			leds1 {
				ledname = "leds-sec1";
				id = <0>;
				brightness = <12>;
				timeout = <7>;
				torch_table_enable = <0>;
			};

			leds2 {
				ledname = "torch-sec1";
				id = <1>;
				brightness = <12>;
				timeout = <15>;
				torch_table_enable = <1>;
				torch_table = <2 4 4 5 6 8 9 10 10 12>;
			};
		};
	};
};

&hsi2c_27 {
	#address-cells = <1>;
	#size-cells = <0>;
	pinctrl-names = "default", "on_i2c", "off_i2c";
	pinctrl-0 = <&hsi2c27_bus_in>;
	pinctrl-1 = <&hsi2c27_bus>;
	pinctrl-2 = <&hsi2c27_bus_in>;
	clock-frequency = <400000>;
	status = "okay";

	fimc-is-imx320@10 {
		compatible = "samsung,exynos5-fimc-is-cis-imx320";
		reg = <0x10>;
		id = <0x00 0x01>;
		setfile = "default";
	};

	fimc-is-3h1@35 {
		compatible = "samsung,exynos5-fimc-is-cis-3h1";
		reg = <0x35>;
		id = <0x00 0x01>;
		setfile = "default";
	};
};

&hsi2c_28 {
	#address-cells = <1>;
	#size-cells = <0>;
	pinctrl-names = "default", "on_i2c", "off_i2c";
	pinctrl-0 = <&hsi2c28_bus_in>;
	pinctrl-1 = <&hsi2c28_bus>;
	pinctrl-2 = <&hsi2c28_bus_in>;
	clock-frequency = <400000>;
	status = "okay";

	fimc-is-actuator@c {
		compatible = "samsung,exynos5-fimc-is-actuator-ak7372";
		reg = <0x0c>;
		id = <0x00 0x01>;
		place = <0x01>;
	};

	front_eeprom@51 {
		compatible = "samsung,front-eeprom-i2c";
		reg = <0x51>;
	};
};

&pinctrl_fsys1 {
	sub_pmic_irq: sub-pmic-irq-pins {
		samsung,pins = "gpj1-5";
		samsung,pin-function = <EXYNOS_PIN_FUNC_INPUT>;
		samsung,pin-pud = <EXYNOS_PIN_PULL_NONE>;
		samsung,pin-drv = <EXYNOS7_PIN_DRV_LV1>;
	};
};

&pinctrl_peric0 {
	iris_en_out: iris-en-out-pins {
		samsung,pins = "gpe7-3";
		samsung,pin-function = <EXYNOS_PIN_FUNC_OUTPUT>;
		samsung,pin-pud = <EXYNOS_PIN_PULL_NONE>;
		samsung,pin-drv = <EXYNOS7_PIN_DRV_LV1>;
		samsung,pin-val = <0>;
	};

	sub_cam_io_out: sub-cam-io-out-pins {
		samsung,pins = "gpe7-7";
		samsung,pin-function = <EXYNOS_PIN_FUNC_OUTPUT>;
		samsung,pin-pud = <EXYNOS_PIN_PULL_NONE>;
		samsung,pin-drv = <EXYNOS7_PIN_DRV_LV1>;
		samsung,pin-val = <0>;
	};

	sub_cam_af_out: sub-cam-af-out-pins {
		samsung,pins = "gpf1-0";
		samsung,pin-function = <EXYNOS_PIN_FUNC_OUTPUT>;
		samsung,pin-pud = <EXYNOS_PIN_PULL_NONE>;
		samsung,pin-drv = <EXYNOS7_PIN_DRV_LV1>;
		samsung,pin-val = <0>;
	};
};

&pinctrl_peric1 {
	fimc_is_flash_is: fimc-is-flash-is-pins {
		samsung,pins = "gpc0-1", "gpc0-2";
		samsung,pin-function = <EXYNOS_PIN_FUNC_OUTPUT>;
		samsung,pin-pud = <EXYNOS_PIN_PULL_DOWN>;
		samsung,pin-drv = <EXYNOS7_PIN_DRV_LV1>;
	};

	vtcam_rst_out: vtcam-rst-out-pins {
		samsung,pins = "gpc0-3";
		samsung,pin-function = <EXYNOS_PIN_FUNC_OUTPUT>;
		samsung,pin-pud = <EXYNOS_PIN_PULL_NONE>;
		samsung,pin-drv = <EXYNOS7_PIN_DRV_LV1>;
		samsung,pin-val = <0>;
	};

	cam_rst_out: cam-rst-out-pins {
		samsung,pins = "gpc0-4";
		samsung,pin-function = <EXYNOS_PIN_FUNC_OUTPUT>;
		samsung,pin-pud = <EXYNOS_PIN_PULL_NONE>;
		samsung,pin-drv = <EXYNOS7_PIN_DRV_LV1>;
		samsung,pin-val = <0>;
	};

	ois_rst_out: ois-rst-out-pins {
		samsung,pins = "gpc1-0";
		samsung,pin-function = <EXYNOS_PIN_FUNC_OUTPUT>;
		samsung,pin-pud = <EXYNOS_PIN_PULL_NONE>;
		samsung,pin-drv = <EXYNOS7_PIN_DRV_LV2>;
		samsung,pin-val = <0>;
	};

	comp_rst_out: comp-rst-out-pins {
		samsung,pins = "gpc1-1";
		samsung,pin-function = <EXYNOS_PIN_FUNC_OUTPUT>;
		samsung,pin-pud = <EXYNOS_PIN_PULL_NONE>;
		samsung,pin-drv = <EXYNOS7_PIN_DRV_LV1>;
		samsung,pin-val = <0>;
	};

	sub_cam_rst_out: sub-cam-rst-out-pins {
		samsung,pins = "gpc1-2";
		samsung,pin-function = <EXYNOS_PIN_FUNC_OUTPUT>;
		samsung,pin-pud = <EXYNOS_PIN_PULL_NONE>;
		samsung,pin-drv = <EXYNOS7_PIN_DRV_LV1>;
		samsung,pin-val = <0>;
	};

	sub_cam_en_out: sub-cam-en-out-pins {
		samsung,pins = "gpc1-3";
		samsung,pin-function = <EXYNOS_PIN_FUNC_OUTPUT>;
		samsung,pin-pud = <EXYNOS_PIN_PULL_NONE>;
		samsung,pin-drv = <EXYNOS7_PIN_DRV_LV2>;
		samsung,pin-val = <0>;
	};

	iris_rst_out: iris-rst-out-pins {
		samsung,pins = "gpc1-4";
		samsung,pin-function = <EXYNOS_PIN_FUNC_OUTPUT>;
		samsung,pin-pud = <EXYNOS_PIN_PULL_NONE>;
		samsung,pin-drv = <EXYNOS7_PIN_DRV_LV1>;
		samsung,pin-val = <0>;
	};

	hsi2c1_bus_in: hsi2c1-bus-in-pins {
		samsung,pins = "gpc2-1", "gpc2-0";
		samsung,pin-function = <EXYNOS_PIN_FUNC_INPUT>;
		samsung,pin-pud = <EXYNOS_PIN_PULL_NONE>;
		samsung,pin-drv = <EXYNOS7_PIN_DRV_LV1>;
	};

	hsi2c2_bus_in: hsi2c2-bus-in-pins {
		samsung,pins = "gpc2-3", "gpc2-2";
		samsung,pin-function = <EXYNOS_PIN_FUNC_INPUT>;
		samsung,pin-pud = <EXYNOS_PIN_PULL_NONE>;
		samsung,pin-drv = <EXYNOS7_PIN_DRV_LV1>;
	};

	hsi2c3_bus_in: hsi2c3-bus-in-pins {
		samsung,pins = "gpc2-5", "gpc2-4";
		samsung,pin-function = <EXYNOS_PIN_FUNC_INPUT>;
		samsung,pin-pud = <EXYNOS_PIN_PULL_NONE>;
		samsung,pin-drv = <EXYNOS7_PIN_DRV_LV1>;
	};

	hsi2c4_bus_in: hsi2c4-bus-in-pins {
		samsung,pins = "gpc2-7", "gpc2-6";
		samsung,pin-function = <EXYNOS_PIN_FUNC_INPUT>;
		samsung,pin-pud = <EXYNOS_PIN_PULL_NONE>;
		samsung,pin-drv = <EXYNOS7_PIN_DRV_LV1>;
	};

	hsi2c27_bus_in: hsi2c27-bus-in-pins {
		samsung,pins = "gpe4-1", "gpe4-0";
		samsung,pin-function = <EXYNOS_PIN_FUNC_INPUT>;
		samsung,pin-pud = <EXYNOS_PIN_PULL_NONE>;
		samsung,pin-drv = <EXYNOS7_PIN_DRV_LV1>;
	};

	hsi2c28_bus_in: hsi2c28-bus-in-pins {
		samsung,pins = "gpe4-3", "gpe4-2";
		samsung,pin-function = <EXYNOS_PIN_FUNC_INPUT>;
		samsung,pin-pud = <EXYNOS_PIN_PULL_NONE>;
		samsung,pin-drv = <EXYNOS7_PIN_DRV_LV1>;
	};

	fimc_is_mclk0_out: fimc-is-mclk0-out-pins {
		samsung,pins = "gpk0-0";
		samsung,pin-function = <EXYNOS_PIN_FUNC_OUTPUT>;
		samsung,pin-pud = <EXYNOS_PIN_PULL_NONE>;
		samsung,pin-drv = <EXYNOS7_PIN_DRV_LV2>;
		samsung,pin-val = <0>;
	};

	fimc_is_mclk1_out: fimc-is-mclk1-out-pins {
		samsung,pins = "gpk0-1";
		samsung,pin-function = <EXYNOS_PIN_FUNC_OUTPUT>;
		samsung,pin-pud = <EXYNOS_PIN_PULL_NONE>;
		samsung,pin-drv = <EXYNOS7_PIN_DRV_LV2>;
		samsung,pin-val = <0>;
	};

	fimc_is_mclk2_out: fimc-is-mclk2-out-pins {
		samsung,pins = "gpk0-2";
		samsung,pin-function = <EXYNOS_PIN_FUNC_OUTPUT>;
		samsung,pin-pud = <EXYNOS_PIN_PULL_NONE>;
		samsung,pin-drv = <EXYNOS7_PIN_DRV_LV2>;
		samsung,pin-val = <0>;
	};

	fimc_is_mclk3_out: fimc-is-mclk3-out-pins {
		samsung,pins = "gpk0-3";
		samsung,pin-function = <EXYNOS_PIN_FUNC_OUTPUT>;
		samsung,pin-pud = <EXYNOS_PIN_PULL_NONE>;
		samsung,pin-drv = <EXYNOS7_PIN_DRV_LV3>;
		samsung,pin-val = <0>;
	};

	fimc_is_mclk0_fn: fimc-is-mclk0-fn-pins {
		samsung,pins = "gpk0-0";
		samsung,pin-function = <EXYNOS_PIN_FUNC_2>;
		samsung,pin-pud = <EXYNOS_PIN_PULL_NONE>;
		samsung,pin-drv = <EXYNOS7_PIN_DRV_LV2>;
	};

	fimc_is_mclk1_fn: fimc-is-mclk1-fn-pins {
		samsung,pins = "gpk0-1";
		samsung,pin-function = <EXYNOS_PIN_FUNC_2>;
		samsung,pin-pud = <EXYNOS_PIN_PULL_NONE>;
		samsung,pin-drv = <EXYNOS7_PIN_DRV_LV2>;
	};

	fimc_is_mclk2_fn: fimc-is-mclk2-fn-pins {
		samsung,pins = "gpk0-2";
		samsung,pin-function = <EXYNOS_PIN_FUNC_2>;
		samsung,pin-pud = <EXYNOS_PIN_PULL_NONE>;
		samsung,pin-drv = <EXYNOS7_PIN_DRV_LV2>;
	};

	fimc_is_mclk3_fn: fimc-is-mclk3-fn-pins {
		samsung,pins = "gpk0-3";
		samsung,pin-function = <EXYNOS_PIN_FUNC_2>;
		samsung,pin-pud = <EXYNOS_PIN_PULL_NONE>;
		samsung,pin-drv = <EXYNOS7_PIN_DRV_LV3>;
	};

	fimc_is_spi_pin0_out: fimc-is-spi-pin0-out-pins {
		samsung,pins = "gpc3-3", "gpc3-2", "gpc3-0";
		samsung,pin-function = <EXYNOS_PIN_FUNC_OUTPUT>;
		samsung,pin-pud = <EXYNOS_PIN_PULL_NONE>;
		samsung,pin-drv = <EXYNOS7_PIN_DRV_LV1>;
		samsung,pin-val = <0>;
	};

	fimc_is_spi_pin0_fn: fimc-is-spi-pin0-fn-pins {
		samsung,pins = "gpc3-3", "gpc3-2", "gpc3-0";
		samsung,pin-function = <EXYNOS_PIN_FUNC_2>;
		samsung,pin-pud = <EXYNOS_PIN_PULL_DOWN>;
		samsung,pin-drv = <EXYNOS7_PIN_DRV_LV1>;
		samsung,pin-val = <0>;
	};

	fimc_is_spi_ssn0_out: fimc-is-spi-ssn0-out-pins {
		samsung,pins = "gpc3-1";
		samsung,pin-function = <EXYNOS_PIN_FUNC_OUTPUT>;
		samsung,pin-pud = <EXYNOS_PIN_PULL_NONE>;
		samsung,pin-drv = <EXYNOS7_PIN_DRV_LV1>;
		samsung,pin-val = <0>;
	};

	fimc_is_spi_ssn0_inpd: fimc-is-spi-ssn0-inpd-pins {
		samsung,pins = "gpc3-1";
		samsung,pin-function = <EXYNOS_PIN_FUNC_INPUT>;
		samsung,pin-pud = <EXYNOS_PIN_PULL_DOWN>;
		samsung,pin-drv = <EXYNOS7_PIN_DRV_LV1>;
	};

	fimc_is_spi_ssn0_inpu: fimc-is-spi-ssn0-inpu-pins {
		samsung,pins = "gpc3-1";
		samsung,pin-function = <EXYNOS_PIN_FUNC_INPUT>;
		samsung,pin-pud = <EXYNOS_PIN_PULL_UP>;
		samsung,pin-drv = <EXYNOS7_PIN_DRV_LV1>;
	};

	fimc_is_spi_ssn0_fn: fimc-is-spi-ssn0-fn-pins {
		samsung,pins = "gpc3-1";
		samsung,pin-function = <EXYNOS_PIN_FUNC_2>;
		samsung,pin-pud = <EXYNOS_PIN_PULL_NONE>;
		samsung,pin-drv = <EXYNOS7_PIN_DRV_LV1>;
	};

	fimc_is_spi_pin1_out: fimc-is-spi-pin1-out-pins {
		samsung,pins = "gpc3-7", "gpc3-6", "gpc3-4";
		samsung,pin-function = <EXYNOS_PIN_FUNC_OUTPUT>;
		samsung,pin-pud = <EXYNOS_PIN_PULL_NONE>;
		samsung,pin-drv = <EXYNOS7_PIN_DRV_LV1>;
		samsung,pin-val = <0>;
	};

	fimc_is_spi_pin1_fn: fimc-is-spi-pin1-fn-pins {
		samsung,pins = "gpc3-7", "gpc3-6", "gpc3-4";
		samsung,pin-function = <EXYNOS_PIN_FUNC_2>;
		samsung,pin-pud = <EXYNOS_PIN_PULL_DOWN>;
		samsung,pin-drv = <EXYNOS7_PIN_DRV_LV1>;
		samsung,pin-val = <0>;
	};

	fimc_is_spi_ssn1_out: fimc-is-spi-ssn1-out-pins {
		samsung,pins = "gpc3-5";
		samsung,pin-function = <EXYNOS_PIN_FUNC_OUTPUT>;
		samsung,pin-pud = <EXYNOS_PIN_PULL_NONE>;
		samsung,pin-drv = <EXYNOS7_PIN_DRV_LV1>;
		samsung,pin-val = <0>;
	};

	fimc_is_spi_ssn1_fn: fimc-is-spi-ssn1-fn-pins {
		samsung,pins = "gpc3-5";
		samsung,pin-function = <EXYNOS_PIN_FUNC_2>;
		samsung,pin-pud = <EXYNOS_PIN_PULL_NONE>;
		samsung,pin-drv = <EXYNOS7_PIN_DRV_LV1>;
	};

	sub_cam_1p0_out: sub-cam-1p0-out-pins {
		samsung,pins = "gpe6-3";
		samsung,pin-function = <EXYNOS_PIN_FUNC_OUTPUT>;
		samsung,pin-pud = <EXYNOS_PIN_PULL_NONE>;
		samsung,pin-drv = <EXYNOS7_PIN_DRV_LV1>;
		samsung,pin-val = <0>;
	};

	fimc_is_comp_int_in: fimc-is-comp-int-in-pins {
		samsung,pins = "gpc0-0";
		samsung,pin-function = <EXYNOS_PIN_FUNC_INPUT>;
		samsung,pin-pud = <EXYNOS_PIN_PULL_DOWN>;
		samsung,pin-drv = <EXYNOS7_PIN_DRV_LV1>;
		samsung,pin-val = <0>;
	};

	fimc_is_comp_int_fn: fimc-is-comp-int-fn-pins {
		samsung,pins = "gpc0-0";
		samsung,pin-function = <EXYNOS_PIN_FUNC_EINT>;
		samsung,pin-pud = <EXYNOS_PIN_PULL_NONE>;
		samsung,pin-drv = <EXYNOS7_PIN_DRV_LV1>;
	};
};

&spi_0 {
	#address-cells = <1>;
	#size-cells = <0>;
	pinctrl-names = "default", "spi_out", "spi_fn";
	pinctrl-0 = <&fimc_is_spi_pin0_out>;
	pinctrl-1 = <&fimc_is_spi_pin0_out>;
	pinctrl-2 = <&fimc_is_spi_pin0_fn>;
	cs-gpios = <&gpc3 1 GPIO_ACTIVE_LOW>;
	num-cs = <1>;
	swap-mode;
	assigned-clocks = <&cmu_top CLK_DOUT_CMU_PERIC1_SPI_CAM0>,
			  <&cmu_peric1 CLK_MOUT_PERIC1_SPI_CAM0_USER>;
	assigned-clock-parents = <0>, <&cmu_top CLK_DOUT_CMU_PERIC1_SPI_CAM0>;
	assigned-clock-rates = <100000000>, <0>;
	status = "okay";

	fimc_is_spi_0@0 {
		compatible = "samsung,fimc_is_spi0";
		spi-max-frequency = <0x2faf080>;
		reg = <0x00>;
		pinctrl-names = "default", "ssn_out", "ssn_fn", "ssn_inpd", "ssn_inpu";
		pinctrl-0 = <&fimc_is_spi_ssn0_out>;
		pinctrl-1 = <&fimc_is_spi_ssn0_out>;
		pinctrl-2 = <&fimc_is_spi_ssn0_fn>;
		pinctrl-3 = <&fimc_is_spi_ssn0_inpd>;
		pinctrl-4 = <&fimc_is_spi_ssn0_inpu>;
		use_spi_pinctrl;

		controller-data {
			samsung,spi-feedback-delay = <0x01>;
		};
	};
};

&spi_1 {
	#address-cells = <1>;
	#size-cells = <0>;
	pinctrl-names = "default", "spi_out", "spi_fn";
	pinctrl-0 = <&fimc_is_spi_pin1_out>;
	pinctrl-1 = <&fimc_is_spi_pin1_out>;
	pinctrl-2 = <&fimc_is_spi_pin1_fn>;
	cs-gpios = <&gpc3 5 GPIO_ACTIVE_LOW>;
	num-cs = <1>;
	swap-mode;
	assigned-clocks = <&cmu_top CLK_DOUT_CMU_PERIC1_SPI_CAM1>,
			  <&cmu_peric1 CLK_MOUT_PERIC1_SPI_CAM1_USER>;
	assigned-clock-parents = <0>, <&cmu_top CLK_DOUT_CMU_PERIC1_SPI_CAM1>;
	assigned-clock-rates = <100000000>, <0>;
	status = "okay";

	fimc_is_spi_1@0 {
		compatible = "samsung,fimc_is_spi1";
		spi-max-frequency = <0x2faf080>;
		reg = <0x00>;
		pinctrl-names = "default", "ssn_out", "ssn_fn";
		pinctrl-0 = <&fimc_is_comp_int_in &fimc_is_spi_ssn1_out>;
		pinctrl-1 = <&fimc_is_comp_int_in &fimc_is_spi_ssn1_out>;
		pinctrl-2 = <&fimc_is_comp_int_fn &fimc_is_spi_ssn1_fn>;
		use_spi_pinctrl;

		controller-data {
			samsung,spi-feedback-delay = <0x00>;
		};
	};
};

&sysmmu_cam0 {
	status = "okay";
};

&sysmmu_cam1 {
	status = "okay";
};

&sysmmu_dcp {
	status = "okay";
};

&sysmmu_isp {
	status = "okay";
};
